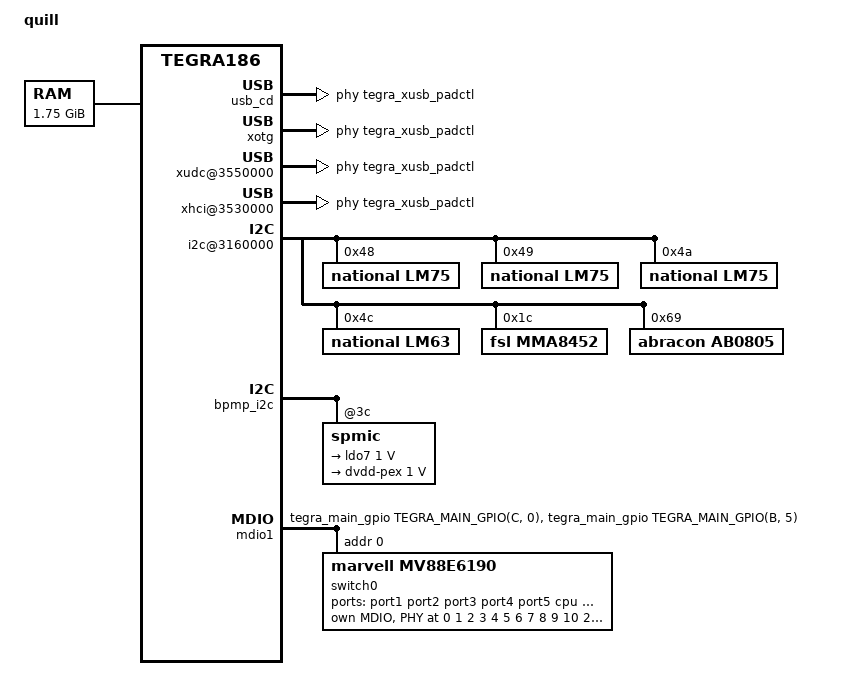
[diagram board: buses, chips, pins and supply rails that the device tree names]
/*
 * tegra186-quill-p3310-a00-00-base.dts Quill A00 Board
 *
 * Copyright (c) 2015-2019, NVIDIA CORPORATION. All rights reserved.
 *
 * This program is free software; you can redistribute it and/or modify
 * it under the terms of the GNU General Public License as published by
 * the Free Software Foundation; version 2 of the License.
 *
 * This program is distributed in the hope that it will be useful, but WITHOUT
 * ANY WARRANTY; without even the implied warranty of MERCHANTABILITY or
 * FITNESS FOR A PARTICULAR PURPOSE.  See the GNU General Public License for
 * more details.
 */

 /*
 * Miovision Smartsense
 *
 * The Smartsense has 2 TX2 modules, Slot A and Slot B, in a master and slave
 * (respectively) configuration.
 *
 * Board support code in U-Boot modifies the DTB on the fly during boot.
 * - nodes that have no designation are left as is
 * - smartsense,txslots = "a,c,f"; designates the node for the listed slots, the
 *   node is removed from the DTB when booting on other slots
 * - smartsense,txslots = ""; removes the node from all slots, most useful to
 *   clean up loose ends from the Tegra platform/SoC DTSIs
 *
 * NOTE: Currently this only works for 1st-level nodes (root being top-level).
 *       If deeper nesting is required, the board support code can be refactored
 *       into a recursive call without too much trouble.
 */

#include <t18x-common-platforms/tegra186-quill-common-p3310-1000-a00.dtsi>
#include <t18x-common-platforms/tegra186-quill-power-tree-p3310-1000-a00-00.dtsi>
//#include <t18x-common-platforms/tegra186-quill-camera-modules.dtsi>
#include <t18x-common-modules/tegra186-display-e3320-1000-a00.dtsi>

/* comms dtsi file should be included after gpio dtsi file */
#include <t18x-common-platforms/tegra186-quill-comms.dtsi>
#include <t18x-common-plugin-manager/tegra186-quill-p3310-1000-a00-plugin-manager.dtsi>
//#include <t18x-common-modules/tegra186-super-module-e2614-p2597-1000-a00.dtsi>
//#include <t18x-common-plugin-manager/tegra186-quill-display-plugin-manager.dtsi>
#include <t18x-common-prod/tegra186-priv-quill-p3310-1000-a00-prod.dtsi>
//#include <t18x-common-plugin-manager/tegra186-quill-camera-plugin-manager.dtsi>

/ {
	model = "quill";
	compatible = "nvidia,quill", "nvidia,p2597-0000+p3310-1000", "nvidia,tegra186";

	nvidia,dtsfilename = __FILE__;
	nvidia,dtbbuildtime = __DATE__, __TIME__;
    nvidia,boardids = "3310:0000:SMARTSENSE:1";
    nvidia,proc-boardid = "3310:0000:SMARTSENSE:1";	
	nvidia,fastboot-usb-vid = <0x0955>;
	nvidia,fastboot-usb-pid = <0xee16>;

	chosen {
		board-has-eeprom;
		bootargs ="console=ttyS0,115200";
		stdout-path = &uarta;
		//nvidia,tegra-joint_xpu_rail;
	};

	aliases {
        mdio-gpio0 = &mdio1;
	};

	firmware {
		android {
			compatible = "android,firmware";
			hardware = "quill";
		};
	};

	memory@80000000 {
		device_type = "memory";
		reg = <0x0 0x80000000 0x0 0x70000000>;
	};

	usb_cd {
		status = "okay";
		phys = <&tegra_xusb_padctl TEGRA_PADCTL_PHY_UTMI_P(0)>;
		phy-names = "otg-phy";
	};

	xotg {
		status = "okay";
		phys = <&tegra_xusb_padctl TEGRA_PADCTL_PHY_UTMI_P(0)>;
		phy-names = "otg-usb2";
	};

	xudc@3550000 {
		status = "okay";
		phys = <&tegra_xusb_padctl TEGRA_PADCTL_PHY_UTMI_P(0)>;
		phy-names = "usb2";
		emc-frequency = <150000000>;
		nvidia,boost-cpu-freq = <1200>;
	};

	xhci@3530000 {
		status = "okay";
		phys = <&tegra_xusb_padctl TEGRA_PADCTL_PHY_UTMI_P(0)>,
			<&tegra_xusb_padctl TEGRA_PADCTL_PHY_UTMI_P(1)>,
			<&tegra_xusb_padctl TEGRA_PADCTL_PHY_USB3_P(1)>;
		phy-names = "utmi-0", "utmi-1", "usb3-0";
		nvidia,boost_cpu_freq = <800>;
	};

    bluedroid_pm {
		bluedroid_pm,reset-gpio = <&tegra_main_gpio TEGRA_MAIN_GPIO(H, 5) 0>;
	};

	spi@c260000 {
		status = "disabled";
	};	

	pinmux@2430000 {
		common {
			gpio_edp2_pp5 {
				status = "disabled";
			};
		};

		/* pinmuxing for B22/B20/B23 MDC/MDIO/SW_INTn */
		pinctrl_mdio1_state: bitbangmdio {
			gpio_wan2_pb5 {
				status = "okay";
				nvidia,pins = "gpio_wan2_pb5";
				nvidia,function = "rsvd0";
				nvidia,pull = <TEGRA_PIN_PULL_UP>;
				nvidia,tristate = <TEGRA_PIN_ENABLE>;
				nvidia,enable-input = <TEGRA_PIN_ENABLE>;
				nvidia,lpdr = <TEGRA_PIN_DISABLE>;
			};
			gpio_wan4_pc0 {
				status = "okay";
				nvidia,pins = "gpio_wan4_pc0";
				nvidia,function = "rsvd0";
				nvidia,pull = <TEGRA_PIN_PULL_UP>;
				nvidia,tristate = <TEGRA_PIN_ENABLE>;
				nvidia,enable-input = <TEGRA_PIN_ENABLE>;
				nvidia,lpdr = <TEGRA_PIN_DISABLE>;
			};
			safe_state_ps3 {
				status = "okay";
				nvidia,pins = "safe_state_ps3";
				nvidia,function = "rsvd1";
				//nvidia,pull = <TEGRA_PIN_PULL_UP>;
				nvidia,tristate = <TEGRA_PIN_ENABLE>;
				nvidia,enable-input = <TEGRA_PIN_ENABLE>;
				nvidia,lpdr = <TEGRA_PIN_DISABLE>;
			};
		};
	};

	pinctrl@3520000 {
		status = "okay";
		pinctrl-0 = <&tegra_xusb_padctl_pinmux_default>;
		pinctrl-1 = <&vbus_en0_sfio_tristate_state>;
		pinctrl-2 = <&vbus_en1_sfio_tristate_state>;
		pinctrl-3 = <&vbus_en0_sfio_passthrough_state>;
		pinctrl-4 = <&vbus_en1_sfio_passthrough_state>;
		pinctrl-5 = <&vbus_en0_default_state>;
		pinctrl-6 = <&vbus_en1_default_state>;
		pinctrl-names = "default",
			"vbus_en0_sfio_tristate", "vbus_en1_sfio_tristate",
			"vbus_en0_sfio_passthrough", "vbus_en1_sfio_passthrough",
			"vbus_en0_default", "vbus_en1_default";

		vbus-0-supply = <&battery_reg>;
		vbus-1-supply = <&battery_reg>;
		vbus-2-supply = <&battery_reg>;
		vbus-3-supply = <&battery_reg>;

		tegra_xusb_padctl_pinmux_default: pinmux {
			/* Quill does not support usb3-micro AB */
			usb2-micro-AB {
				nvidia,lanes = "otg-0";
				nvidia,function = "xusb";
				nvidia,port-cap = <TEGRA_PADCTL_PORT_OTG_CAP>;
				nvidia,oc-pin = <0>;
			};
			usb2-std-A-port2 {
				nvidia,lanes = "otg-1";
				nvidia,function = "xusb";
				nvidia,port-cap = <TEGRA_PADCTL_PORT_HOST_ONLY>;
				nvidia,oc-pin = <1>;
			};
			usb3-std-A-port2 {
				nvidia,lanes = "usb3-1";
				nvidia,port-cap = <TEGRA_PADCTL_PORT_HOST_ONLY>;
				nvidia,oc-pin = <1>;
			};

			e3325-usb3-std-A-HS {
				nvidia,lanes = "otg-2";
				nvidia,function = "xusb";
				nvidia,port-cap = <TEGRA_PADCTL_PORT_HOST_ONLY>;
				status = "disabled";
			};

			e3325-usb3-std-A-SS {
				nvidia,lanes = "usb3-0";
				nvidia,port-cap = <TEGRA_PADCTL_PORT_HOST_ONLY>;
				status = "disabled";
			};
		};
	};

	ahci-sata@3507000 {
		status = "disabled";
	};
		
	pcie-controller@10003000 {
		status = "disabled";
	};

	fixed-regulators {
		regulator@1 {
			gpio = <&tegra_main_gpio TEGRA_MAIN_GPIO(P, 6) 0>;
                };
	};

	gpio@2200000 {
		sdmmc-wake-support-input {
			status = "disabled";
		};

		sdmmc-wake-support-output {
			status = "disabled";
		};
	};

	i2c@3160000 {
		lp8557-backlight-s-wuxga-8-0@2c {
			status = "disabled";
		};

		ina3221x@40 {
			status = "disabled";
		};

		ina3221x@41 {
			status = "disabled";
		};

		ina3221x@42 {
			status = "disabled";
		};

		ina3221x@43 {
			status = "disabled";
		};

		gpio@74 {
			status= "disabled";
		};

		gpio@77 {
			status= "disabled";
		};

		lm75@48 {
			compatible = "national,lm75";
			reg = <0x48>;
		};
		
		lm75@49 {
			compatible = "national,lm75";
			reg = <0x49>;
		};
		
		lm75@4a {
			compatible = "national,lm75";
			reg = <0x4a>;
		};
		
		lm63@4c {
			compatible = "national,lm63";
			reg = <0x4c>;
		};
		
		mma8452@1c {
			compatible = "fsl,mma8452";
			reg = <0x1c>;
			/*interrupt-parent=<&TX2A_ACCEL_INTn>;
			interrupts=<0 0> */
		};
		
		ab0805@69 {
			compatible = "abracon,ab0805";
			reg = <0x69>;
		};

		gpio_i2c_0_21: gpio@21 {
			status = "disabled";
		};

		tps65132@3e {
			status = "disabled";
		};		

	};

	i2c@c240000 {
		clock-frequency = <400000>;
	};

	i2c@3180000 {
		status="disabled";
	};
	
	i2c@3190000 {
		status="disabled";
	};
	
	i2c@31a0000 {
		status="disabled";
	};
	
	i2c@31b0000 {
		status="disabled";
	};
	
	i2c@31c0000 {
		status="disabled";
	};
	
	i2c@31e0000 {
		status="disabled";
	};
	
	i2c@c250000 {
		status="disabled";
	};
	
	cpus {
		status = "disabled";
	};

	host1x {
		sor {
			status = "disabled";
			dp-display {
				status = "disabled";
			};
			hdmi-display {
				status = "disabled";
			};

			panel-s-edp-uhdtv-15-6 {
				smartdimmer {
					status = "disabled";
				};
			};
		};

		dpaux@155c0000 {
			status = "disabled";
		};

		sor1 {
			status = "disabled";
			hdmi-display {
				status = "disabled";
			};
			dp-display {
				status = "disabled";
			};
		};

		nvdisplay@15200000 {
			status = "disabled";
		};

		nvdisplay@15220000 {
			status = "disabled";
		};
	};

	tegra_udrm: tegra_udrm {
		compatible = "nvidia,tegra-udrm";
	};

	bpmp_i2c {
		spmic@3c {
			pinmux@0 {
				pin_gpio2 {
					status = "disabled";
				};
				pin_gpio3 {
					status = "disabled";
				};
				pin_gpio7 {
					drive-push-pull = <1>;
				};
			};

			regulators {
				ldo0 {
					maxim,active-fps-source = <MAX77620_FPS_SRC_NONE>;
				};

				ldo6 {
					maxim,active-fps-source = <MAX77620_FPS_SRC_NONE>;
					regulator-boot-on;
					regulator-always-on;
				};

				ldo7 {
					regulator-min-microvolt = <1000000>;
					regulator-max-microvolt = <1000000>;
				};

				ldo8 {
					regulator-name = "dvdd-pex";
					regulator-min-microvolt = <1000000>;
					regulator-max-microvolt = <1000000>;
				};
			};
		};
	};

    pwm-fan {
		vdd-fan-supply = <&battery_reg>;
    };

	mdio1: mdio {
		smartsense,txslots = "a";
		compatible = "virtual,mdio-gpio";
		status = "okay";
		#address-cells = <1>;
		#size-cells = <0>;

		pinctrl-names = "bitbangmdio";
		pinctrl-0 = <&pinctrl_mdio1_state>;

		/* B23 SW_INTn */
		interrupt-parent = <&tegra_aon_gpio>;
		interrupts = <TEGRA_AON_GPIO(S, 3) 8>;

		/* B20/B22 MDC/MDIO */
		gpios = <&tegra_main_gpio TEGRA_MAIN_GPIO(C, 0) GPIO_ACTIVE_HIGH
			     &tegra_main_gpio TEGRA_MAIN_GPIO(B, 5) GPIO_ACTIVE_HIGH
			    >;

		switch0: switch@0 {
			compatible = "marvell,mv88e6190";
			#address-cells = <1>;
			#size-cells = <0>;					
			reg = <0>;
			dsa,member = <0 0>;

			ports {
				#address-cells = <1>;
				#size-cells = <0>;

				port@1 {
					reg = <0x1>;
					label = "port1";
					phy-handle = <&switch0phy1>;
				};

				port@2 {
					reg = <0x2>;
					label = "port2";
					phy-handle = <&switch0phy2>;
				};

				port@3 {
					reg = <0x3>;
					label = "port3";
					phy-handle = <&switch0phy3>;
				};

				port@4 {
					reg = <0x4>;
					label = "port4";
					phy-handle = <&switch0phy4>;
				};

				port@5 {
					reg = <0x5>;
					label = "port5";
					phy-handle = <&switch0phy5>;
				};

				port@6 {
					reg = <0x6>;
					label = "cpu";
					ethernet = <&{/ether_qos@2490000}>;
					phy-handle = <&switch0phy6>;
				};

				port@7 {
					reg = <0x7>;
					label = "port7";
					phy-handle = <&switch0phy7>;
				};

				port@8 {
					reg = <0x8>;
					label = "port8";
					phy-handle = <&switch0phy8>;
				};
			};		

			mdio {
				#address-cells = <1>;
				#size-cells = <0>;

			 	/* The MV88E6390 does not report the phy type on the MDIO bus properly, so we force it to the
	 	   		correct value here using the compatible property. */
				switch0phy0: ethernet-phy@0 {
					compatible = "ethernet-phy-id0141.0f90";
					reg = <0>;
					broken-turn-around;
				};
				switch0phy1: ethernet-phy@1 {
					compatible = "ethernet-phy-id0141.0f90";
					reg = <1>;
					broken-turn-around;
				};
				switch0phy2: ethernet-phy@2 {
					compatible = "ethernet-phy-id0141.0f90";
					reg = <2>;
					broken-turn-around;
				};
				switch0phy3: ethernet-phy@3 {
					compatible = "ethernet-phy-id0141.0f90";
					reg = <3>;
					broken-turn-around;
				};
				switch0phy4: ethernet-phy@4 {
					compatible = "ethernet-phy-id0141.0f90";
					reg = <4>;
					broken-turn-around;
				};
				switch0phy5: ethernet-phy@5 {
					compatible = "ethernet-phy-id0141.0f90";
					reg = <5>;
					broken-turn-around;
				};
				switch0phy6: ethernet-phy@6 {
					compatible = "ethernet-phy-id0141.0f90";
					reg = <6>;
					broken-turn-around;
				};
				switch0phy7: ethernet-phy@7 {
					compatible = "ethernet-phy-id0141.0f90";
					reg = <7>;
					broken-turn-around;
				};
				switch0phy8: ethernet-phy@8 {
					compatible = "ethernet-phy-id0141.0f90";
					reg = <8>;
					broken-turn-around;
				};
				switch0phy9: ethernet-phy@9 {
					compatible = "ethernet-phy-id0141.0f90";
					reg = <9>;
					broken-turn-around;
				};
				switch0phya: ethernet-phy@a {
					compatible = "ethernet-phy-id0141.0f90";
					reg = <0xa>;
					broken-turn-around;
				};
				switch0phy1b: ethernet-phy@1b {
					compatible = "ethernet-phy-id0141.0f90";
					reg = <0x1b>;
					broken-turn-around;
				};
				switch0phy1c: ethernet-phy@1c {
					compatible = "ethernet-phy-id0141.0f90";
					reg = <0x1c>;
					broken-turn-around;
				};
			};

		};	
	};

	thermal-zones {
		BCPU-therm {
			trips {
				trip_bthrot {
					temperature = <86500>;
				};
			};
		};

		MCPU-therm {
			trips {
				trip_bthrot {
					temperature = <86500>;
				};
			};
		};

		AO-therm {
			trips {
				trip_bthrot {
					temperature = <88000>;
				};
			};
		};
	};	

};

#if LINUX_VERSION >= 414
#include <tegra186-linux-4.14.dtsi>
#endif
